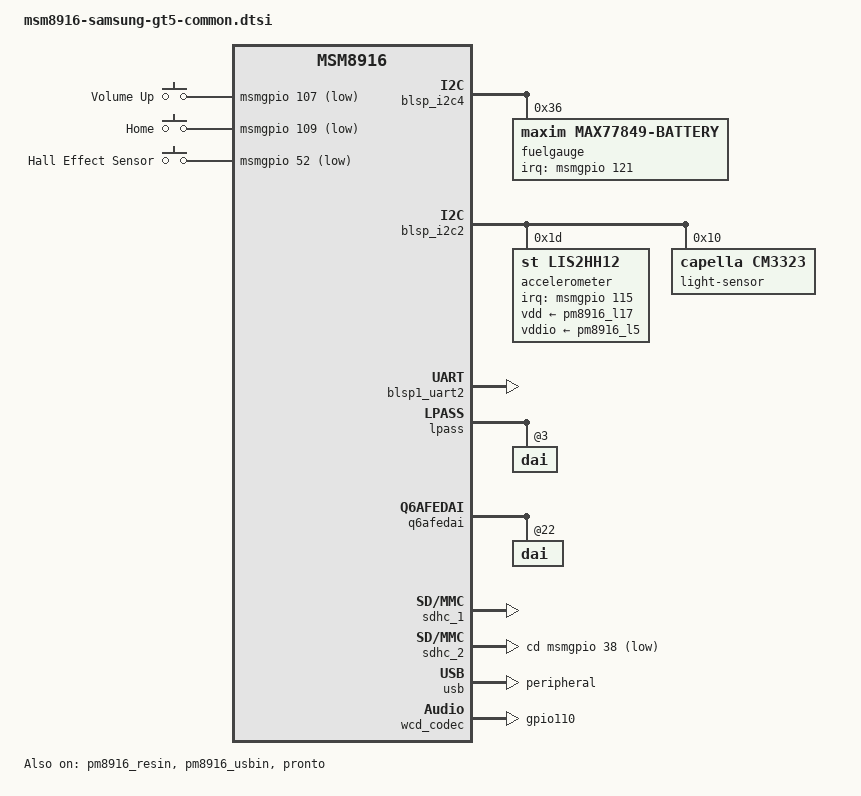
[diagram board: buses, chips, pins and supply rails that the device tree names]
// SPDX-License-Identifier: GPL-2.0-only

/dts-v1/;

#include "msm8916-pm8916.dtsi"
#include "msm8916-modem.dtsi"

#include <dt-bindings/gpio/gpio.h>
#include <dt-bindings/input/input.h>
#include <dt-bindings/interrupt-controller/irq.h>
#include <dt-bindings/sound/apq8016-lpass.h>

/ {
	aliases {
		serial0 = &blsp1_uart2;
	};

	chosen {
		stdout-path = "serial0";
	};

	reserved-memory {
		/* Additional memory used by Samsung firmware modifications */
		tz-apps@85500000 {
			reg = <0x0 0x85500000 0x0 0xb00000>;
			no-map;
		};

		mpss_mem: mpss@86800000 {
			reg = <0x0 0x86800000 0x0 0x5400000>;
			no-map;
		};

		gps_mem: gps@8bc00000 {
			reg = <0x0 0x8bc00000 0x0 0x200000>;
			no-map;
		};
	};

	gpio-keys {
		compatible = "gpio-keys";

		pinctrl-names = "default";
		pinctrl-0 = <&gpio_keys_default>;

		label = "GPIO Buttons";

		volume-up {
			label = "Volume Up";
			gpios = <&msmgpio 107 GPIO_ACTIVE_LOW>;
			linux,code = <KEY_VOLUMEUP>;
		};

		home {
			label = "Home";
			gpios = <&msmgpio 109 GPIO_ACTIVE_LOW>;
			linux,code = <KEY_HOMEPAGE>;
		};
	};

	gpio-hall-sensor {
		compatible = "gpio-keys";

		pinctrl-names = "default";
		pinctrl-0 = <&gpio_hall_sensor_default>;

		label = "GPIO Hall Effect Sensor";

		hall-sensor {
			label = "Hall Effect Sensor";
			gpios = <&msmgpio 52 GPIO_ACTIVE_LOW>;
			linux,input-type = <EV_SW>;
			linux,code = <SW_LID>;
			linux,can-disable;
		};
	};
};

&blsp_i2c4 {
	status = "okay";

	fuelgauge@36 {
		compatible = "maxim,max77849-battery";
		reg = <0x36>;

		maxim,rsns-microohm = <10000>;
		maxim,over-heat-temp = <600>;
		maxim,over-volt = <4400>;

		interrupt-parent = <&msmgpio>;
		interrupts = <121 IRQ_TYPE_EDGE_FALLING>;

		pinctrl-names = "default";
		pinctrl-0 = <&fuelgauge_int_default>;
	};
};

&blsp_i2c2 {
	status = "okay";

	accelerometer@1d {
		compatible = "st,lis2hh12";
		reg = <0x1d>;

		vdd-supply = <&pm8916_l17>;
		vddio-supply = <&pm8916_l5>;

		interrupt-parent = <&msmgpio>;
		interrupts = <115 IRQ_TYPE_LEVEL_HIGH>;
		interrupt-names = "INT1";

		st,drdy-int-pin = <1>;
		mount-matrix = "0", "1", "0",
			      "-1", "0", "0",
			       "0", "0", "1";

		pinctrl-names = "default";
		pinctrl-0 = <&accel_int_default>;
	};

	light-sensor@10 {
		compatible = "capella,cm3323";
		reg = <0x10>;
	};
};

&blsp1_uart2 {
	status = "okay";
};

&lpass {
	dai@3 {
		reg = <MI2S_QUATERNARY>;
		qcom,playback-sd-lines = <1>;
	};
};

&pm8916_resin {
	status = "okay";
	linux,code = <KEY_VOLUMEDOWN>;
};

/* FIXME: Replace with MAX77849 MUIC when driver is available */
&pm8916_usbin {
	status = "okay";
};

&pronto {
	status = "okay";

	iris {
		compatible = "qcom,wcn3660b";
	};
};

&q6afedai {
	dai@22 {
		reg = <QUATERNARY_MI2S_RX>;
		qcom,sd-lines = <1>;
	};
};

&sdhc_1 {
	status = "okay";

	pinctrl-names = "default", "sleep";
	pinctrl-0 = <&sdc1_clk_on &sdc1_cmd_on &sdc1_data_on>;
	pinctrl-1 = <&sdc1_clk_off &sdc1_cmd_off &sdc1_data_off>;
};

&sdhc_2 {
	status = "okay";

	pinctrl-names = "default", "sleep";
	pinctrl-0 = <&sdc2_clk_on &sdc2_cmd_on &sdc2_data_on &sdc2_cd_on>;
	pinctrl-1 = <&sdc2_clk_off &sdc2_cmd_off &sdc2_data_off &sdc2_cd_off>;

	cd-gpios = <&msmgpio 38 GPIO_ACTIVE_LOW>;
};

&sound {
	status = "okay";

	model = "samsung-gt510";
	audio-routing =
		"AMIC1", "MIC BIAS External1",
		"AMIC2", "MIC BIAS Internal2",
		"AMIC3", "MIC BIAS External1";

	pinctrl-names = "default", "sleep";
	pinctrl-0 = <&cdc_pdm_lines_act &ext_sec_tlmm_lines_act>;
	pinctrl-1 = <&cdc_pdm_lines_sus &ext_sec_tlmm_lines_sus>;
};

&sound_dai_quaternary {
	status = "okay";

	codec {
		sound-dai = <&speaker_codec>;
	};
};

&usb {
	status = "okay";
	dr_mode = "peripheral";
	extcon = <&pm8916_usbin>;
};

&usb_hs_phy {
	extcon = <&pm8916_usbin>;
};

&wcd_codec {
	jack-gpios = <&msmgpio 110 GPIO_ACTIVE_LOW>;
	qcom,micbias-lvl = <2800>;
	qcom,mbhc-vtreshold-low = <75 150 237 450 500>;
	qcom,mbhc-vtreshold-high = <75 150 237 450 500>;

	pinctrl-names = "default";
	pinctrl-0 = <&jack_default>;
};

&smd_rpm_regulators {
	vdd_l1_l2_l3-supply = <&pm8916_s3>;
	vdd_l4_l5_l6-supply = <&pm8916_s4>;
	vdd_l7-supply = <&pm8916_s4>;

	s3 {
		regulator-min-microvolt = <1200000>;
		regulator-max-microvolt = <1300000>;
	};

	s4 {
		regulator-min-microvolt = <1800000>;
		regulator-max-microvolt = <2100000>;
	};

	l1 {
		regulator-min-microvolt = <1225000>;
		regulator-max-microvolt = <1225000>;
	};

	l2 {
		regulator-min-microvolt = <1200000>;
		regulator-max-microvolt = <1200000>;
	};

	l4 {
		regulator-min-microvolt = <2050000>;
		regulator-max-microvolt = <2050000>;
	};

	l5 {
		regulator-min-microvolt = <1800000>;
		regulator-max-microvolt = <1800000>;
	};

	l6 {
		regulator-min-microvolt = <1800000>;
		regulator-max-microvolt = <1800000>;
	};

	l7 {
		regulator-min-microvolt = <1800000>;
		regulator-max-microvolt = <1800000>;
	};

	l8 {
		regulator-min-microvolt = <2850000>;
		regulator-max-microvolt = <2900000>;
	};

	l9 {
		regulator-min-microvolt = <3300000>;
		regulator-max-microvolt = <3300000>;
	};

	l10 {
		regulator-min-microvolt = <2700000>;
		regulator-max-microvolt = <2800000>;
	};

	l11 {
		regulator-min-microvolt = <1800000>;
		regulator-max-microvolt = <2950000>;
		regulator-allow-set-load;
		regulator-system-load = <200000>;
	};

	l12 {
		regulator-min-microvolt = <1800000>;
		regulator-max-microvolt = <2950000>;
	};

	l13 {
		regulator-min-microvolt = <3075000>;
		regulator-max-microvolt = <3075000>;
	};

	l14 {
		regulator-min-microvolt = <1800000>;
		regulator-max-microvolt = <3300000>;
	};

	l15 {
		regulator-min-microvolt = <1800000>;
		regulator-max-microvolt = <3300000>;
	};

	l16 {
		regulator-min-microvolt = <1800000>;
		regulator-max-microvolt = <3300000>;
	};

	l17 {
		regulator-min-microvolt = <2850000>;
		regulator-max-microvolt = <2850000>;
	};

	l18 {
		regulator-min-microvolt = <2700000>;
		regulator-max-microvolt = <2700000>;
	};
};

&msmgpio {
	accel_int_default: accel-int-default {
		pins = "gpio115";
		function = "gpio";

		drive-strength = <2>;
		bias-disable;
	};

	fuelgauge_int_default: fuelgauge-int-default {
		pins = "gpio121";
		function = "gpio";

		drive-strength = <2>;
		bias-disable;
	};

	gpio_keys_default: gpio-keys-default {
		pins = "gpio107", "gpio109";
		function = "gpio";

		drive-strength = <2>;
		bias-pull-up;
	};

	gpio_hall_sensor_default: gpio-hall-sensor-default {
		pins = "gpio52";
		function = "gpio";

		drive-strength = <2>;
		bias-disable;
	};

	jack_default: jack-default {
		pins = "gpio110";
		function = "gpio";

		drive-strength = <2>;
		bias-disable;
	};
};
